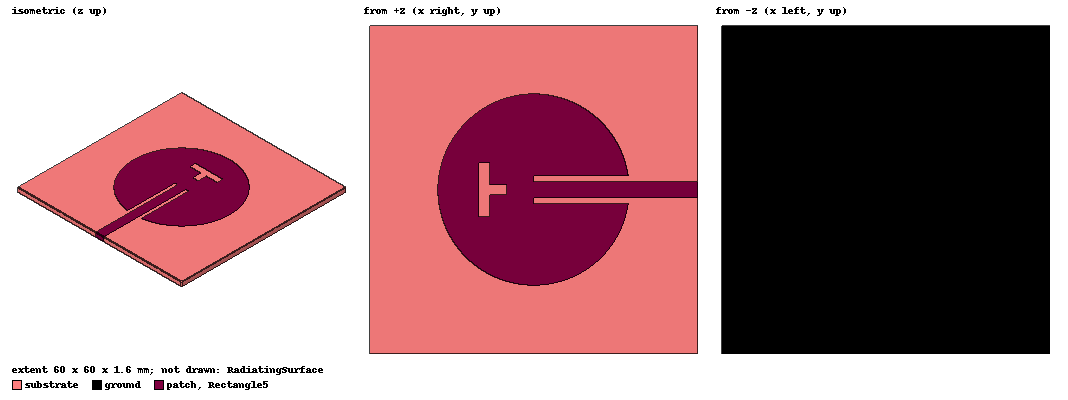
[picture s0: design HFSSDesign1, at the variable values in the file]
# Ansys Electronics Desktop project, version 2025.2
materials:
  vacuum: permittivity=1
  FR4_epoxy: permittivity=4.4 dielectric_loss_tangent=0.02

design HFSSDesign1 (HFSS, HFSS Terminal Network, model units mm)
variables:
  a = 0mm
  b = 0mm
  c = 0mm
  gl = 60mm
  gw = 60mm
  t = 1.6mm
  g = 17.5mm
  sw = 5mm
  sl = 20mm
  fw = 3mm
  fl = 30mm
  tl = 10mm
  tw = 10mm
  lw = 2mm
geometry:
  ground = rectangle(corner=(a, b, c), x_size=gl, y_size=gw)
  substrate [FR4_epoxy] = box(corner=(a, b, c), size=(gl, gw, t))
  patch = circle(normal=Z, centre=((gl/2), (gw/2), t), radius=g)
  Rectangle1 = rectangle(corner=(gl/2, (gw/2)-(sw/2), t), x_size=sl, y_size=sw)
  patch.subtract(Rectangle1)
  Rectangle2 = rectangle(corner=(gl/2, (gw/2)-(fw/2), t), x_size=fl, y_size=fw)
  patch.unite(Rectangle2)
  Rectangle3 = rectangle(corner=(gl-fl-tl, gw/2-tw/2, t), x_size=lw, y_size=tw)
  Rectangle4 = rectangle(corner=(gl-fl-tl, gw/2-lw/2, t), x_size=tl/2, y_size=lw)
  Rectangle3.unite(Rectangle4)
  patch.subtract(Rectangle3)
  Rectangle5 = rectangle(corner=(gl, gw/2-fw/2, t), y_size=fw, z_size=-t)
  RadiatingSurface [vacuum] = region(absolute_offset=100mm on all sides)
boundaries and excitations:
  PerfE1: Perfect E Objects=ground
  PerfE2: Perfect E Objects=patch
  Open1: Radiation Objects=RadiatingSurface
  1: Wave Port Objects=Rectangle5 WavePortType=Modal NumModes=1 Modes{Mode1{CharImp=Zpi}}
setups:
  Setup1: HfssDriven Frequency=4GHz MaxDeltaS=0.02 MaximumPasses=6 MinimumPasses=1 MinimumConvergedPasses=1 PercentRefinement=30 BasisOrder=1 PortAccuracy=2 DrivenSolverType="Direct Solver"
  Setup2: HfssDriven Frequency=2.4GHz MaxDeltaS=0.02 MaximumPasses=6 MinimumPasses=1 MinimumConvergedPasses=1 PercentRefinement=30 BasisOrder=1 PortAccuracy=2 DrivenSolverType="Direct Solver"
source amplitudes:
  1:1: 1V 0deg
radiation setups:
  3D: Infinite Sphere Theta=0deg..180deg step 2deg Phi=-180deg..180deg step 2deg
  Elevation: Infinite Sphere Theta=-180deg..180deg step 1deg Phi=0deg..90deg step 90deg
  Azimuth: Infinite Sphere Theta=90deg..90deg step 0deg Phi=-180deg..180deg step 1deg
